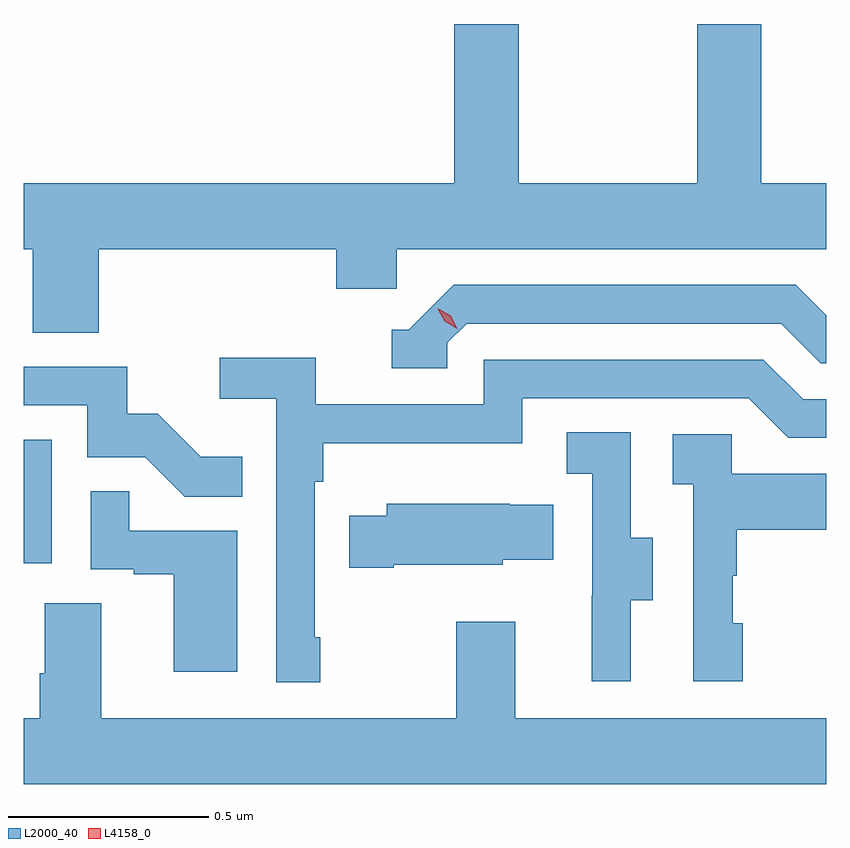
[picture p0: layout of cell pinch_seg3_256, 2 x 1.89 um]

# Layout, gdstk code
import gdstk
lib = gdstk.Library(unit=1e-6, precision=1e-09)
def R(c, l, rs):  # rectangles x0, y0, x1, y1
    for r in rs: c.add(gdstk.rectangle(r[:2], r[2:], *l))
def P(c, l, *ps):  # polygons
    for p in ps: c.add(gdstk.Polygon(p, *l))
L2000_40 = (2000, 40)
L4158_0 = (4158, 0)

pinch_seg3_256 = lib.new_cell('pinch_seg3_256')
R(pinch_seg3_256, L2000_40, [(937.974,724.11,938.044,724.417)])
P(pinch_seg3_256, L2000_40, [(938.162,724.892),(938.753,724.892),(938.753,724.794),(938.904,724.794),(938.904,724.892),(939.974,724.892),(939.974,725.056),(939.812,725.056),(939.812,725.453),(939.652,725.453),(939.652,725.056),(939.207,725.056),(939.207,725.453),(939.047,725.453),(939.047,725.056),(937.974,725.056),(937.974,724.892),(937.997,724.892),(937.997,724.684),(938.162,724.684)],
  [(939.03,724.659),(939.078,724.707),(939.861,724.707),(939.96,724.608),(939.974,724.608),(939.974,724.727),(939.898,724.803),(939.045,724.803),(938.934,724.692),(938.891,724.692),(938.891,724.596),(939.03,724.596)],
  [(938.713,723.925),(938.7,723.925),(938.7,724.313),(938.72,724.313),(938.72,724.409),(939.216,724.409),(939.216,724.521),(939.78,724.521),(939.879,724.422),(939.974,724.422),(939.974,724.518),(939.916,724.518),(939.817,724.617),(939.12,724.617),(939.12,724.506),(938.702,724.506),(938.702,724.622),(938.463,724.622),(938.463,724.52),(938.604,724.52),(938.604,723.813),(938.713,723.813)],
  [(938.519,724.375),(938.415,724.375),(938.308,724.482),(938.232,724.482),(938.232,724.599),(937.974,724.599),(937.974,724.503),(938.133,724.503),(938.133,724.374),(938.277,724.374),(938.375,724.276),(938.519,724.276)],
  [(939.487,724.018),(939.541,724.018),(939.541,724.173),(939.486,724.173),(939.486,724.436),(939.327,724.436),(939.327,724.333),(939.39,724.333),(939.39,724.029),(939.389,724.029),(939.389,723.816),(939.487,723.816)],
  [(939.766,723.96),(939.741,723.96),(939.741,724.079),(939.751,724.079),(939.751,724.193),(939.974,724.193),(939.974,724.333),(939.738,724.333),(939.738,724.431),(939.591,724.431),(939.591,724.307),(939.642,724.307),(939.642,723.816),(939.766,723.816)],
  [(938.506,724.191),(938.237,724.191),(938.237,724.289),(938.142,724.289),(938.142,724.095),(938.249,724.095),(938.249,724.083),(938.348,724.083),(938.348,723.84),(938.506,723.84)],
  [(938.896,724.106),(939.168,724.106),(939.168,724.118),(939.293,724.118),(939.293,724.255),(939.185,724.255),(939.185,724.258),(938.879,724.258),(938.879,724.228),(938.785,724.228),(938.785,724.099),(938.896,724.099)],
  [(939.974,723.724),(939.199,723.724),(939.199,723.964),(939.052,723.964),(939.052,723.724),(938.167,723.724),(938.167,724.01),(938.027,724.01),(938.027,723.836),(938.015,723.836),(938.015,723.724),(937.974,723.724),(937.974,723.56),(939.974,723.56)])
P(pinch_seg3_256, L4158_0, [(939.054,724.694),(939.023,724.712),(939.006,724.744),(939.006,724.744),(939.007,724.744),(939.038,724.726),(939.054,724.694),(939.054,724.694)])

lib.write_gds('pinch_seg3_256.gds')
